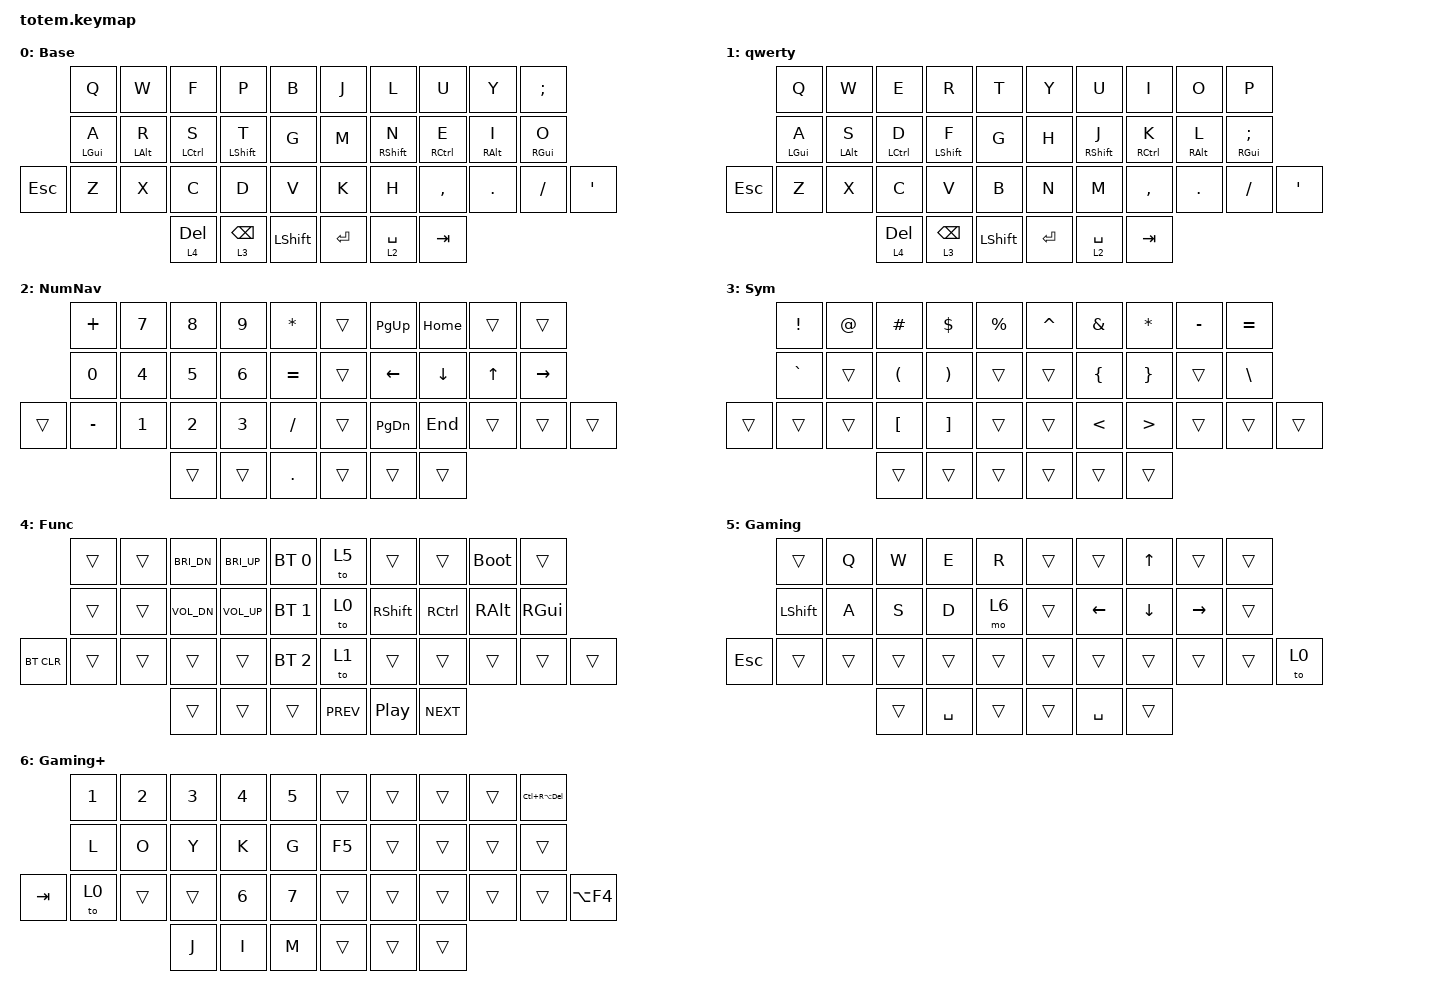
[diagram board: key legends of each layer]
//
//                                                        ▀▀▀▀▀     ▀▀▀▀▀          ▀▀█▀▀
//                                                        ▄▀▀▀▄  ▄  ▄▀▀▀▄  ▄  ▄▀▀▀▄  █  ▄▀▀▀▄
//                                                        █   █  █  █   █  █  █   █  █  █   █
//                                                         ▀▀▀   █   ▀▀▀   █   ▀▀▀   ▀   ▀▀▀
//                                                               █      ▄▄▄█▄▄▄    █   █  
//                                                               ▀      █  █  █     █▄█
//                                                             ▀▀▀▀▀    █  █  █      ▀
//                                                                      ▀  ▀  ▀
//
// ▄▄▄▄▄▄▄▄▄▄▄▄▄▄▄▄▄▄▄▄▄▄▄▄▄▄▄▄▄▄▄▄▄▄▄▄▄▄▄▄▄▄▄▄▄▄▄▄▄▄▄▄▄▄▄▄▄▄▄▄▄▄▄▄▄▄▄▄▄▄▄▄▄▄▄▄▄▄▄▄▄▄▄▄▄▄▄▄▄▄▄▄▄▄▄▄▄▄▄▄▄▄▄▄▄▄▄▄▄▄▄▄▄▄▄▄▄▄▄▄▄▄▄▄▄▄▄▄▄▄▄▄▄▄▄▄▄▄▄▄▄▄▄▄▄▄▄▄▄

#include <behaviors.dtsi>
#include <dt-bindings/zmk/bt.h>
#include <dt-bindings/zmk/keys.h>

#define Base        0
#define Media       1
#define Nav         2
#define Mouse       3
#define Sym         4
#define Num         5
#define Fun         6
#define Button      7
#define Game        8
#define Gameplus    9

&mt {
    quick-tap-ms = <100>;
    global-quick-tap;
    flavor = "tap-preferred";
    tapping-term-ms = <170>;
};

&lt {
    tapping-term-ms = <240>;
    flavor = "balanced";
    quick-tap-ms = <150>;
};

/ {
    behaviors {
        hm: homerow_mods {
            compatible = "zmk,behavior-hold-tap";
            label = "HOMEROW_MODS";
            #binding-cells = <2>;
            flavor = "tap-preferred";
            tapping-term-ms = <200>;
            quick-tap-ms = <125>;
            global-quick-tap;
            bindings = <&kp>, <&kp>;
        };
    };

    combos {
        compatible = "zmk,combos";

        Copy {
            bindings = <&kp LC(C)>;
            key-positions = <22 23>;
        };

        Paste {
            bindings = <&kp LC(V)>;
            key-positions = <24 23>;
        };

        Cut {
            bindings = <&kp LC(X)>;
            key-positions = <22 24>;
        };

        PasteNoFormat {
            bindings = <&kp LC(LS(V))>;
            key-positions = <22 23 24>;
        };

        Caps {
            bindings = <&kp CAPS>;
            key-positions = <13 16>;
        };

        Tab {
            bindings = <&kp TAB>;
            key-positions = <13 12 11>;
        };

        Enter {
            bindings = <&kp ENTER>;
            key-positions = <18 17 16>;
        };
    };

    keymap {
        compatible = "zmk,keymap";

        Base {
            label = "Base";
            bindings = <
         &kp Q       &kp W       &kp F        &kp P            &kp B         &kp J      &kp L        &kp U        &kp Y       &kp SEMI
         &hm LGUI A  &hm LALT R  &hm LCTRL S  &hm LSHIFT T     &kp G         &kp M      &hm RSHFT N  &hm RCTRL E  &hm RALT I  &hm RGUI O
&kp ESC  &kp Z       &kp X       &kp C        &kp D            &kp V         &kp K      &kp H        &kp COMMA    &kp DOT     &kp SLASH   &kp SQT
                                 &lt 4 DEL    &lt 3 BACKSPACE  &kp LSHIFT    &kp ENTER  &lt 2 SPACE  &kp TAB
            >;
        };

        qwerty {
            bindings = <
         &kp Q           &kp W           &kp E         &kp R             &kp T        &kp Y    &kp U              &kp I                &kp O            &kp P
         &mt LEFT_GUI A  &mt LEFT_ALT S  &mt LCTRL D   &mt LEFT_SHIFT F  &kp G        &kp H    &mt RIGHT_SHIFT J  &mt RIGHT_CONTROL K  &mt RIGHT_ALT L  &mt RIGHT_GUI SEMICOLON
&kp ESC  &kp Z           &kp X           &kp C         &kp V             &kp B        &kp N    &kp M              &kp COMMA            &kp DOT          &kp FSLH                 &kp SQT
                                         &lt 4 DELETE  &lt 3 BACKSPACE   &kp LSHFT    &kp RET  &lt 2 SPACE        &kp TAB
            >;
        };

        NumNav {
            label = "NumNav";
            bindings = <
        &kp PLUS   &kp N7  &kp N8  &kp N9  &kp ASTRK    &trans  &kp PAGE_UP    &kp HOME  &trans  &trans
        &kp N0     &kp N4  &kp N5  &kp N6  &kp EQUAL    &trans  &kp LEFT       &kp DOWN  &kp UP  &kp RIGHT
&trans  &kp MINUS  &kp N1  &kp N2  &kp N3  &kp FSLH     &trans  &kp PAGE_DOWN  &kp END   &trans  &trans     &trans
                           &trans  &trans  &kp DOT      &trans  &trans         &trans
            >;
        };

        Sym {
            label = "Sym";
            bindings = <
        &kp EXCL   &kp AT  &kp HASH  &kp DOLLAR  &kp PERCENT    &kp CARET  &kp AMPERSAND  &kp STAR          &kp MINUS  &kp EQUAL
        &kp GRAVE  &trans  &kp LPAR  &kp RPAR    &trans         &trans     &kp LBRC       &kp RBRC          &trans     &kp BSLH
&trans  &trans     &trans  &kp LBKT  &kp RBKT    &trans         &trans     &kp LESS_THAN  &kp GREATER_THAN  &trans     &trans     &trans
                           &trans    &trans      &trans         &trans     &trans         &trans
            >;
        };

        Func {
            label = "Func";
            bindings = <
            &trans  &trans  &kp C_BRI_DN  &kp C_BRI_UP  &bt BT_SEL 0    &to 5       &trans            &trans      &bootloader  &trans
            &trans  &trans  &kp C_VOL_DN  &kp C_VOL_UP  &bt BT_SEL 1    &to 0       &kp RSHIFT        &kp RCTRL   &kp RALT     &kp RGUI
&bt BT_CLR  &trans  &trans  &trans        &trans        &bt BT_SEL 2    &to 1       &trans            &trans      &trans       &trans    &trans
                            &trans        &trans        &trans          &kp C_PREV  &kp C_PLAY_PAUSE  &kp C_NEXT
            >;
        };

        Gaming {
            bindings = <
            &trans          &kp Q   &kp W   &kp E      &kp R     &trans  &trans     &kp UP    &trans     &trans
            &kp LEFT_SHIFT  &kp A   &kp S   &kp D      &mo 6     &trans  &kp LEFT   &kp DOWN  &kp RIGHT  &trans
&kp ESCAPE  &trans          &trans  &trans  &trans     &trans    &trans  &trans     &trans    &trans     &trans  &to 0
                                    &trans  &kp SPACE  &trans    &trans  &kp SPACE  &trans
            >;

            label = "Gaming";
        };

        Gaming+ {
            bindings = <
         &kp NUMBER_1  &kp NUMBER_2  &kp NUMBER_3  &kp NUMBER_4  &kp NUMBER_5    &trans  &trans  &trans  &trans  &kp LC(RA(DEL))
         &kp L         &kp O         &kp Y         &kp K         &kp G           &kp F5  &trans  &trans  &trans  &trans
&kp TAB  &to 0         &trans        &trans        &kp NUMBER_6  &kp NUMBER_7    &trans  &trans  &trans  &trans  &trans           &kp LA(F4)
                                     &kp J         &kp I         &kp M           &trans  &trans  &trans
            >;

            label = "Gaming+";
        };
    };
};
